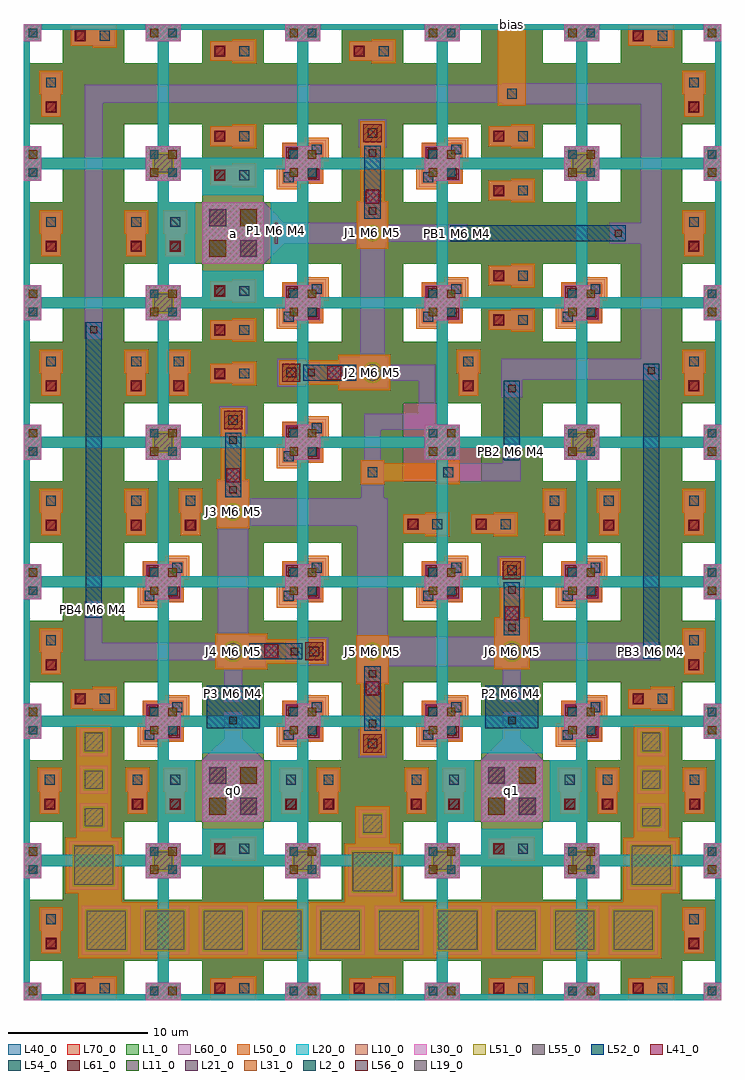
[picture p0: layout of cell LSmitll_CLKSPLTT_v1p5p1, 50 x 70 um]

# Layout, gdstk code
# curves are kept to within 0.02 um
from math import pi, radians
import gdstk
lib = gdstk.Library(unit=1e-6, precision=1e-09)
def R(c, l, rs):  # rectangles x0, y0, x1, y1
    for r in rs: c.add(gdstk.rectangle(r[:2], r[2:], *l))
def A(c, l, x, y, w, h, nx, ny, dx, dy):  # array of equal rectangles
    R(c, l, [(x+i*dx, y+j*dy, x+i*dx+w, y+j*dy+h) for i in range(nx) for j in range(ny)])
def P(c, l, *ps):  # polygons
    for p in ps: c.add(gdstk.Polygon(p, *l))
L1_0 = (1, 0)
L2_0 = (2, 0)
L10_0 = (10, 0)
L11_0 = (11, 0)
L19_0 = (19, 0)
L20_0 = (20, 0)
L21_0 = (21, 0)
L30_0 = (30, 0)
L31_0 = (31, 0)
L40_0 = (40, 0)
L41_0 = (41, 0)
L50_0 = (50, 0)
L51_0 = (51, 0)
L52_0 = (52, 0)
L54_0 = (54, 0)
L55_0 = (55, 0)
L56_0 = (56, 0)
L60_0 = (60, 0)
L61_0 = (61, 0)
L70_0 = (70, 0)

ls_fakejj_1p5x1p5um = lib.new_cell('ls_FakeJJ_1p5x1p5um')
R(ls_fakejj_1p5x1p5um, L40_0, [(-1.25,-1.25,1.25,1.25)])
R(ls_fakejj_1p5x1p5um, L50_0, [(-1.25,-1.25,1.25,1.25)])
R(ls_fakejj_1p5x1p5um, L51_0, [(-0.75,-0.75,0.75,0.75)])
R(ls_fakejj_1p5x1p5um, L55_0, [(-0.65,-0.65,0.65,0.65)])
R(ls_fakejj_1p5x1p5um, L60_0, [(-1,-1,1,1)])

ls_fakejj_3umx3um = lib.new_cell('ls_FakeJJ_3umx3um')
R(ls_fakejj_3umx3um, L40_0, [(-2,-2,2,2)])
R(ls_fakejj_3umx3um, L50_0, [(-2,-2,2,2)])
R(ls_fakejj_3umx3um, L51_0, [(-1.5,-1.5,1.5,1.5)])
R(ls_fakejj_3umx3um, L55_0, [(-1.4,-1.4,1.4,1.4)])
R(ls_fakejj_3umx3um, L60_0, [(-1.75,-1.75,1.75,1.75)])

ls_conn_m4m5m6m7 = lib.new_cell('ls_conn_M4M5M6M7')
R(ls_conn_m4m5m6m7, L40_0, [(0,0,1.4,1.4)])
R(ls_conn_m4m5m6m7, L41_0, [(0.3,0.3,1.1,1.1)])
P(ls_conn_m4m5m6m7, L50_0, [(3.3,1.55),(1.6,1.55),(1.6,1.4),(0,1.4),(0,0),(1.6,0),(1.6,-0.15),(3.3,-0.15)])
R(ls_conn_m4m5m6m7, L54_0, [(2.1,0.35,2.8,1.05)])
R(ls_conn_m4m5m6m7, L60_0, [(0,0,3.15,1.4)])
R(ls_conn_m4m5m6m7, L61_0, [(0.35,0.35,1.05,1.05)])
R(ls_conn_m4m5m6m7, L70_0, [(0,0,1.4,1.4)])

ls_tr_m7 = lib.new_cell('ls_tr_M7')
P(ls_tr_m7, L70_0, [(10,10),(7.2,10),(7.2,9.6),(8.75,9.6),(8.75,8.75),(9.6,8.75),(9.6,7.2),(7.2,7.2),(7.2,2.8),(9.6,2.8),(9.6,1.25),(8.75,1.25),(8.75,0.4),(7.2,0.4),(7.2,10),(1.25,10),(1.25,9.6),(2.8,9.6),(2.8,7.2),(0.4,7.2),(0.4,2.8),(2.8,2.8),(2.8,0.4),(1.25,0.4),(1.25,1.25),(0.4,1.25),(0.4,8.75),(1.25,8.75),(1.25,10),(0,10),(0,0),(10,0)])

ls_conn_m4m5m6m7_block = lib.new_cell('ls_conn_M4M5M6M7_block')
R(ls_conn_m4m5m6m7_block, L40_0, [(-1.475,-1.475,1.475,1.475)])
R(ls_conn_m4m5m6m7_block, L41_0, [(0.375,-1.175,1.175,-0.375), (-1.175,0.375,-0.375,1.175)])
P(ls_conn_m4m5m6m7_block, L50_0, [(1.85,1.85),(0.15,1.85),(0.15,1.475),(-1.475,1.475),(-1.475,-0.15),(-1.85,-0.15),(-1.85,-1.85),(-0.15,-1.85),(-0.15,-1.475),(1.475,-1.475),(1.475,0.15),(1.85,0.15)])
R(ls_conn_m4m5m6m7_block, L54_0, [(-1.35,-1.35,-0.65,-0.65), (0.65,0.65,1.35,1.35)])
P(ls_conn_m4m5m6m7_block, L60_0, [(1.7,1.7),(0.3,1.7),(0.3,1.45),(-1.45,1.45),(-1.45,-0.3),(-1.7,-0.3),(-1.7,-1.7),(-0.3,-1.7),(-0.3,-1.45),(1.45,-1.45),(1.45,0.3),(1.7,0.3)])
R(ls_conn_m4m5m6m7_block, L61_0, [(0.35,-1.05,1.05,-0.35), (-1.05,0.35,-0.35,1.05)])
R(ls_conn_m4m5m6m7_block, L70_0, [(-1.45,-1.45,1.45,1.45)])

ls_conn_m5m6m7 = lib.new_cell('ls_conn_M5M6M7')
R(ls_conn_m5m6m7, L50_0, [(-0.5,-0.5,1.2,1.2)])
R(ls_conn_m5m6m7, L54_0, [(0,0,0.7,0.7)])
R(ls_conn_m5m6m7, L60_0, [(-0.65,-0.65,1.35,1.35)])
R(ls_conn_m5m6m7, L61_0, [(-0.3,-0.3,1,1)])
R(ls_conn_m5m6m7, L70_0, [(-0.65,-0.65,1.35,1.35)])

ls_jj_170_sg = lib.new_cell('ls_jj_170_sg')
R(ls_jj_170_sg, L41_0, [(-0.5,2.25,0.5,3.25)])
R(ls_jj_170_sg, L50_0, [(-1.275,-1.275,1.275,2.45), (-0.875,2.45,0.875,6.7)])
P(ls_jj_170_sg, L51_0, [(0,-0.755),(0.29,-0.695),(0.535,-0.535),(0.7,-0.29),(0.755,0),(0.7,0.29),(0.535,0.535),(0.29,0.7),(0,0.755),(-0.29,0.7),(-0.535,0.535),(-0.7,0.29),(-0.755,0),(-0.7,-0.29),(-0.535,-0.535),(-0.29,-0.695)])
R(ls_jj_170_sg, L52_0, [(-0.575,1.175,0.575,4.95)])
R(ls_jj_170_sg, L54_0, [(-0.35,5.475,0.35,6.175)])
P(ls_jj_170_sg, L55_0, [(0,-0.61),(0.23,-0.56),(0.43,-0.43),(0.56,-0.24),(0.61,0),(0.56,0.23),(0.43,0.43),(0.23,0.56),(0,0.6),(-0.23,0.56),(-0.43,0.43),(-0.56,0.23),(-0.61,0),(-0.56,-0.24),(-0.43,-0.43),(-0.23,-0.56)])
R(ls_jj_170_sg, L56_0, [(-0.26,1.46,0.26,1.98), (-0.26,4.14,0.26,4.66)])
R(ls_jj_170_sg, L60_0, [(-1.125,-1.125,1.125,2.35), (-0.725,3.775,0.725,6.55)])
ls_jj_170_sg.add(gdstk.Reference(ls_conn_m5m6m7, (-0.35,5.475)))

ls_ib_360 = lib.new_cell('ls_ib_360')
R(ls_ib_360, L52_0, [(-0.575,0,0.575,5.675)])
R(ls_ib_360, L56_0, [(-0.26,0.29,0.26,0.81), (-0.26,4.87,0.26,5.39)])
R(ls_ib_360, L60_0, [(-0.625,-0.1,0.625,1.175), (-0.625,4.5,0.625,5.775)])

ls_ib_135 = lib.new_cell('ls_ib_135')
R(ls_ib_135, L52_0, [(-0.575,0,0.575,12.6)])
R(ls_ib_135, L56_0, [(-0.26,0.29,0.26,0.81), (-0.26,11.8,0.26,12.32)])
R(ls_ib_135, L60_0, [(-0.625,-0.1,0.625,1.175), (-0.625,11.425,0.625,12.7)])

ls_jj_101_sg = lib.new_cell('ls_jj_101_sg')
R(ls_jj_101_sg, L41_0, [(-0.5,2.1,0.5,3.1)])
R(ls_jj_101_sg, L50_0, [(-1.125,-1.125,1.125,2.3), (-0.875,2.3,0.875,8.025)])
P(ls_jj_101_sg, L51_0, [(0,-0.59),(0.225,-0.545),(0.415,-0.415),(0.545,-0.225),(0.59,0),(0.545,0.225),(0.415,0.42),(0.225,0.545),(0,0.59),(-0.225,0.545),(-0.415,0.42),(-0.545,0.225),(-0.59,0),(-0.545,-0.225),(-0.415,-0.415),(-0.225,-0.545)])
R(ls_jj_101_sg, L52_0, [(-0.575,1.05,0.575,6.275)])
P(ls_jj_101_sg, L55_0, [(0,-0.44),(0.25,-0.37),(0.41,-0.17),(0.44,0),(0.37,0.25),(0.25,0.37),(0,0.44),(-0.25,0.37),(-0.37,0.25),(-0.44,0),(-0.41,-0.17),(-0.31,-0.31),(-0.17,-0.41)])
R(ls_jj_101_sg, L56_0, [(-0.26,1.32,0.26,1.84), (-0.26,5.49,0.26,6.01)])
R(ls_jj_101_sg, L60_0, [(-0.975,-0.975,0.975,2.2), (-0.725,5.1,0.725,7.875)])
ls_jj_101_sg.add(gdstk.Reference(ls_conn_m5m6m7, (-0.35,6.825)))

ls_tr_ptlconnection = lib.new_cell('ls_tr_PTLconnection')
P(ls_tr_ptlconnection, L1_0, [(10,10),(7.2,10),(7.2,9.6),(8.75,9.6),(8.75,8.75),(9.6,8.75),(9.6,7.2),(7.2,7.2),(7.2,2.8),(9.6,2.8),(9.6,1.25),(8.75,1.25),(8.75,0.4),(7.2,0.4),(7.2,10),(1.25,10),(1.25,9.6),(2.8,9.6),(2.8,7.2),(0.4,7.2),(0.4,2.8),(2.8,2.8),(2.8,0.4),(1.25,0.4),(1.25,1.25),(0.4,1.25),(0.4,8.75),(1.25,8.75),(1.25,10),(0,10),(0,0),(10,0)])
R(ls_tr_ptlconnection, L2_0, [(9.05,0.35,9.65,0.95), (0.35,9.05,0.95,9.65)])
R(ls_tr_ptlconnection, L10_0, [(0,0,1.25,1.25), (8.75,0,10,1.25), (2.8,2.8,7.2,7.2), (0,8.75,1.25,10), (8.75,8.75,10,10)])
R(ls_tr_ptlconnection, L11_0, [(0.35,0.35,0.95,0.95), (3.3,3.3,4.5,4.5), (5.5,5.5,6.7,6.7), (9.05,9.05,9.65,9.65)])
R(ls_tr_ptlconnection, L20_0, [(2.8,2.8,7.2,7.2)])
P(ls_tr_ptlconnection, L20_0, [(10,10),(7.2,10),(7.2,9.6),(8.75,9.6),(8.75,8.75),(9.6,8.75),(9.6,7.2),(7.7,7.2),(7.7,2.8),(9.6,2.8),(9.6,1.25),(8.75,1.25),(8.75,0.4),(7.2,0.4),(7.2,2.3),(2.8,2.3),(2.8,0.4),(1.25,0.4),(1.25,1.25),(0.4,1.25),(0.4,2.8),(2.3,2.8),(2.3,7.2),(0.4,7.2),(0.4,8.75),(1.25,8.75),(1.25,9.6),(2.8,9.6),(2.8,7.7),(7.2,7.7),(7.2,10),(0,10),(0,0),(10,0)])
R(ls_tr_ptlconnection, L21_0, [(9.05,0.35,9.65,0.95), (5.5,3.3,6.7,4.5), (3.3,5.5,4.5,6.7), (0.35,9.05,0.95,9.65)])
R(ls_tr_ptlconnection, L30_0, [(0,0,1.25,1.25), (8.75,0,10,1.25), (2.8,2.8,7.2,7.2), (0,8.75,1.25,10), (8.75,8.75,10,10)])
R(ls_tr_ptlconnection, L31_0, [(0.35,0.35,0.95,0.95), (3.3,3.3,4.5,4.5), (5.5,5.5,6.7,6.7), (9.05,9.05,9.65,9.65)])
R(ls_tr_ptlconnection, L40_0, [(2.8,2.8,7.2,7.2)])
P(ls_tr_ptlconnection, L40_0, [(10,10),(7.2,10),(7.2,9.6),(8.75,9.6),(8.75,8.75),(9.6,8.75),(9.6,7.2),(7.7,7.2),(7.7,2.8),(9.6,2.8),(9.6,1.25),(8.75,1.25),(8.75,0.4),(7.2,0.4),(7.2,2.3),(2.8,2.3),(2.8,0.4),(1.25,0.4),(1.25,1.25),(0.4,1.25),(0.4,2.8),(2.3,2.8),(2.3,7.2),(0.4,7.2),(0.4,8.75),(1.25,8.75),(1.25,9.6),(2.8,9.6),(2.8,7.7),(7.2,7.7),(7.2,10),(0,10),(0,0),(10,0)])
R(ls_tr_ptlconnection, L41_0, [(5.5,3.3,6.7,4.5), (3.3,5.5,4.5,6.7)])
R(ls_tr_ptlconnection, L50_0, [(2.8,2.8,7.2,7.2)])
R(ls_tr_ptlconnection, L54_0, [(3.3,3.3,4.5,4.5), (5.5,5.5,6.7,6.7)])
R(ls_tr_ptlconnection, L60_0, [(2.8,2.8,7.2,7.2)])
P(ls_tr_ptlconnection, L70_0, [(10,10),(7.2,10),(7.2,9.6),(8.75,9.6),(8.75,8.75),(9.6,8.75),(9.6,7.2),(7.2,7.2),(7.2,2.8),(9.6,2.8),(9.6,1.25),(8.75,1.25),(8.75,0.4),(7.2,0.4),(7.2,10),(1.25,10),(1.25,9.6),(2.8,9.6),(2.8,7.2),(0.4,7.2),(0.4,2.8),(2.8,2.8),(2.8,0.4),(1.25,0.4),(1.25,1.25),(0.4,1.25),(0.4,8.75),(1.25,8.75),(1.25,10),(0,10),(0,0),(10,0)])

ls_tr_u_m4 = lib.new_cell('ls_tr_u_M4')
P(ls_tr_u_m4, L1_0, [(10,10),(7.2,10),(7.2,9.6),(8.75,9.6),(8.75,8.75),(9.6,8.75),(9.6,7.2),(7.2,7.2),(7.2,2.8),(9.6,2.8),(9.6,1.25),(8.75,1.25),(8.75,0.4),(7.2,0.4),(7.2,10),(1.25,10),(1.25,9.6),(2.8,9.6),(2.8,7.2),(0.4,7.2),(0.4,2.8),(2.8,2.8),(2.8,0.4),(1.25,0.4),(1.25,1.25),(0.4,1.25),(0.4,8.75),(1.25,8.75),(1.25,10),(0,10),(0,0),(10,0)])
R(ls_tr_u_m4, L2_0, [(9.05,0.35,9.65,0.95), (0.35,9.05,0.95,9.65)])
R(ls_tr_u_m4, L10_0, [(0,0,1.25,1.25), (8.75,0,10,1.25), (0,8.75,1.25,10), (8.75,8.75,10,10)])
R(ls_tr_u_m4, L11_0, [(0.35,0.35,0.95,0.95), (9.05,9.05,9.65,9.65)])
P(ls_tr_u_m4, L20_0, [(10,10),(1.25,10),(1.25,9.6),(8.75,9.6),(8.75,8.75),(9.6,8.75),(9.6,1.25),(8.75,1.25),(8.75,0.4),(1.25,0.4),(1.25,1.25),(0.4,1.25),(0.4,8.75),(1.25,8.75),(1.25,10),(0,10),(0,0),(10,0)])
R(ls_tr_u_m4, L21_0, [(9.05,0.35,9.65,0.95), (0.35,9.05,0.95,9.65)])
R(ls_tr_u_m4, L30_0, [(0,0,1.25,1.25), (8.75,0,10,1.25), (0,8.75,1.25,10), (8.75,8.75,10,10)])
R(ls_tr_u_m4, L31_0, [(0.35,0.35,0.95,0.95), (9.05,9.05,9.65,9.65)])
P(ls_tr_u_m4, L40_0, [(10,10),(7.2,10),(7.2,9.6),(8.75,9.6),(8.75,8.75),(9.6,8.75),(9.6,7.2),(7.2,7.2),(7.2,2.8),(9.6,2.8),(9.6,1.25),(8.75,1.25),(8.75,0.4),(7.2,0.4),(7.2,10),(1.25,10),(1.25,9.6),(2.8,9.6),(2.8,7.2),(0.4,7.2),(0.4,2.8),(2.8,2.8),(2.8,0.4),(1.25,0.4),(1.25,1.25),(0.4,1.25),(0.4,8.75),(1.25,8.75),(1.25,10),(0,10),(0,0),(10,0)])

ls_ib_076 = lib.new_cell('ls_ib_076')
R(ls_ib_076, L52_0, [(-0.575,0,0.575,21.175)])
R(ls_ib_076, L56_0, [(-0.26,0.29,0.26,0.81), (-0.26,20.39,0.26,20.91)])
R(ls_ib_076, L60_0, [(-0.625,-0.1,0.625,1.175), (-0.625,20,0.625,21.275)])

ls_jj_121_sg = lib.new_cell('ls_jj_121_sg')
R(ls_jj_121_sg, L41_0, [(-0.5,2.15,0.5,3.15)])
R(ls_jj_121_sg, L50_0, [(-1.175,-1.175,1.175,2.35), (-0.875,2.35,0.875,7.45)])
P(ls_jj_121_sg, L51_0, [(0,-0.645),(0.245,-0.595),(0.455,-0.455),(0.595,-0.25),(0.645,0),(0.595,0.245),(0.455,0.45),(0.245,0.59),(0,0.64),(-0.245,0.59),(-0.455,0.45),(-0.595,0.245),(-0.645,0),(-0.595,-0.25),(-0.455,-0.455),(-0.245,-0.595)])
R(ls_jj_121_sg, L52_0, [(-0.575,1.075,0.575,5.7)])
P(ls_jj_121_sg, L55_0, [(0,-0.49),(0.19,-0.45),(0.35,-0.35),(0.47,-0.19),(0.49,0),(0.47,0.19),(0.35,0.35),(0.19,0.46),(0,0.5),(-0.19,0.46),(-0.35,0.35),(-0.47,0.19),(-0.49,0),(-0.47,-0.19),(-0.35,-0.35),(-0.19,-0.45)])
R(ls_jj_121_sg, L56_0, [(-0.26,1.34,0.26,1.86), (-0.26,4.91,0.26,5.43)])
R(ls_jj_121_sg, L60_0, [(-1.025,-1.025,1.025,2.25), (-0.725,4.525,0.725,7.3)])
ls_jj_121_sg.add(gdstk.Reference(ls_conn_m5m6m7, (-0.35,6.25)))

ls_res_1p36 = lib.new_cell('ls_res_1p36')
R(ls_res_1p36, L52_0, [(-1.9,0,1.9,3.05)])
R(ls_res_1p36, L56_0, [(-0.26,0.29,0.26,0.81), (-0.26,2.25,0.26,2.77)])
R(ls_res_1p36, L60_0, [(-0.625,-0.1,0.625,1.175), (-0.625,1.875,0.625,3.15)])

ls_conn_m5m6 = lib.new_cell('ls_conn_M5M6')
R(ls_conn_m5m6, L50_0, [(0,0,1.7,1.7)])
R(ls_conn_m5m6, L54_0, [(0.5,0.5,1.2,1.2)])
R(ls_conn_m5m6, L60_0, [(0.15,0.15,1.55,1.55)])

lsmitll_clkspltt_v1p5p1 = lib.new_cell('LSmitll_CLKSPLTT_v1p5p1')
R(lsmitll_clkspltt_v1p5p1, L19_0, [(14.75,21.75,15.25,22.25), (34.75,21.75,35.25,22.25), (44.75,24.775,45.25,25.275), (4.75,27.725,5.25,28.225), (34.75,39.025,35.25,39.525), (30.875,54.75,31.375,55.25)])
R(lsmitll_clkspltt_v1p5p1, L40_0, [(27.2,37.2,32.8,39.6), (27.2,40.4,29.6,42.8)])
A(lsmitll_clkspltt_v1p5p1, L50_0, 3.35, 0, 1.6, 0.15, 5, 1, 10, 0)
A(lsmitll_clkspltt_v1p5p1, L50_0, 7.9, 3, 0.2, 4, 9, 1, 4.2, 0)
A(lsmitll_clkspltt_v1p5p1, L50_0, 3.75, 11.65, 2.5, 0.2, 1, 3, 0, 2.7)
A(lsmitll_clkspltt_v1p5p1, L50_0, 43.75, 11.65, 2.5, 0.2, 1, 3, 0, 2.7)
R(lsmitll_clkspltt_v1p5p1, L50_0, [(3.9,7,7,7.65), (23,7,27,7.2), (43,7,45.7,7.65), (23.75,11.2,26.25,11.4), (3.35,69.85,4.95,70), (43.35,69.85,44.95,70)])
A(lsmitll_clkspltt_v1p5p1, L60_0, 3.35, 0, 3.15, 0.15, 5, 1, 10, 0)
R(lsmitll_clkspltt_v1p5p1, L60_0, [(3.35,69.85,6.5,70), (43.35,69.85,46.5,70)])
P(lsmitll_clkspltt_v1p5p1, L60_0, [(12.8,17.2),(17.2,17.2),(15,19.4)],
  [(32.8,17.2),(37.2,17.2),(35,19.4)],
  [(17.2,57.2),(17.2,52.8),(19.4,55)])
R(lsmitll_clkspltt_v1p5p1, L70_0, [(27.2,37.2,32.8,39.6), (27.2,40.4,29.6,42.8)])
lsmitll_clkspltt_v1p5p1.add(gdstk.FlexPath([(25,41.975),(25,37.25)], 1.2, ends="flush", simple_path=True, layer=60, datatype=0))  # L60_0
lsmitll_clkspltt_v1p5p1.add(gdstk.FlexPath([(29.5,41.475),(24.4,41.475)], 1.15, ends="flush", simple_path=True, layer=60, datatype=0))  # L60_0
lsmitll_clkspltt_v1p5p1.add(gdstk.FlexPath([(28.9,45.225),(28.9,40.975)], 1.2, ends="flush", simple_path=True, layer=60, datatype=0))  # L60_0
lsmitll_clkspltt_v1p5p1.add(gdstk.FlexPath([(26.125,45),(29.5,45)], 1.15, ends="flush", simple_path=True, layer=60, datatype=0))  # L60_0
lsmitll_clkspltt_v1p5p1.add(gdstk.FlexPath([(18.1,55.75),(18.1,54.25)], 0.2, ends="flush", simple_path=True, layer=19, datatype=0))  # L19_0
lsmitll_clkspltt_v1p5p1.add(gdstk.FlexPath([(29.725,37.85),(35,37.85),(35,39.9)], 1.3, ends="flush", simple_path=True, layer=60, datatype=0))  # L60_0
lsmitll_clkspltt_v1p5p1.add(gdstk.FlexPath([(24.15,37.85),(31.275,37.85)], 1.3, ends="flush", simple_path=True, layer=50, datatype=0))  # L50_0
lsmitll_clkspltt_v1p5p1.add(gdstk.FlexPath([(15,37.25),(15,26.125)], 2.2, ends="flush", simple_path=True, layer=60, datatype=0))  # L60_0
lsmitll_clkspltt_v1p5p1.add(gdstk.FlexPath([(35,23.875),(35,21.375)], 1.3, ends="flush", simple_path=True, layer=60, datatype=0))  # L60_0
lsmitll_clkspltt_v1p5p1.add(gdstk.FlexPath([(35,20.675),(35,17.2)], 1.3, ends="flush", simple_path=True, layer=60, datatype=0))  # L60_0
lsmitll_clkspltt_v1p5p1.add(gdstk.FlexPath([(35,45.975),(35,43.225)], 1.5, ends="flush", simple_path=True, layer=60, datatype=0))  # L60_0
lsmitll_clkspltt_v1p5p1.add(gdstk.FlexPath([(35,45.225),(45.75,45.225)], 1.5, ends="flush", simple_path=True, layer=60, datatype=0))  # L60_0
lsmitll_clkspltt_v1p5p1.add(gdstk.FlexPath([(45,25),(36.125,25)], 1.25, ends="flush", simple_path=True, layer=60, datatype=0))  # L60_0
lsmitll_clkspltt_v1p5p1.add(gdstk.FlexPath([(33.875,25),(26.025,25)], 2.1, ends="flush", simple_path=True, layer=60, datatype=0))  # L60_0
lsmitll_clkspltt_v1p5p1.add(gdstk.FlexPath([(25,22.75),(25,35.7)], 2.2, ends="flush", simple_path=True, layer=60, datatype=0))  # L60_0
lsmitll_clkspltt_v1p5p1.add(gdstk.FlexPath([(13.875,25),(5,25),(5,28.6)], 1.25, ends="flush", simple_path=True, layer=60, datatype=0))  # L60_0
lsmitll_clkspltt_v1p5p1.add(gdstk.FlexPath([(26.1,35),(16.025,35)], 1.95, ends="flush", simple_path=True, layer=60, datatype=0))  # L60_0
lsmitll_clkspltt_v1p5p1.add(gdstk.FlexPath([(25,54.025),(25,46.125)], 1.75, ends="flush", simple_path=True, layer=60, datatype=0))  # L60_0
lsmitll_clkspltt_v1p5p1.add(gdstk.FlexPath([(24.025,55),(17.1,55)], 1.5, ends="flush", simple_path=True, layer=60, datatype=0))  # L60_0
lsmitll_clkspltt_v1p5p1.add(gdstk.FlexPath([(25.975,55),(31.75,55)], 1.2, ends="flush", simple_path=True, layer=60, datatype=0))  # L60_0
lsmitll_clkspltt_v1p5p1.add(gdstk.FlexPath([(35,64.15),(35,70)], 2, ends="flush", simple_path=True, layer=50, datatype=0))  # L50_0
lsmitll_clkspltt_v1p5p1.add(gdstk.FlexPath([(35,65),(4.35,65)], 1.3, ends="flush", simple_path=True, layer=60, datatype=0))  # L60_0
lsmitll_clkspltt_v1p5p1.add(gdstk.FlexPath([(5,65.65),(5,47.425)], 1.3, ends="flush", simple_path=True, layer=60, datatype=0))  # L60_0
lsmitll_clkspltt_v1p5p1.add(gdstk.FlexPath([(45,65),(34.3,65)], 1.5, ends="flush", simple_path=True, layer=60, datatype=0))  # L60_0
lsmitll_clkspltt_v1p5p1.add(gdstk.FlexPath([(45,65.75),(45,44.475)], 1.5, ends="flush", simple_path=True, layer=60, datatype=0))  # L60_0
lsmitll_clkspltt_v1p5p1.add(gdstk.FlexPath([(44.25,55),(42,55)], 1.5, ends="flush", simple_path=True, layer=60, datatype=0))  # L60_0
lsmitll_clkspltt_v1p5p1.add(gdstk.FlexPath([(15,20.675),(15,17.2)], 1.3, ends="flush", simple_path=True, layer=60, datatype=0))  # L60_0
lsmitll_clkspltt_v1p5p1.add(gdstk.FlexPath([(15,23.875),(15,21.375)], 1.3, ends="flush", simple_path=True, layer=60, datatype=0))  # L60_0
lsmitll_clkspltt_v1p5p1.add(gdstk.FlexPath([(25,38.65),(25,34.25)], 1.6, ends="flush", simple_path=True, layer=60, datatype=0))  # L60_0
lsmitll_clkspltt_v1p5p1.add(gdstk.Reference(ls_fakejj_1p5x1p5um, (45,15.8)))
lsmitll_clkspltt_v1p5p1.add(gdstk.Reference(ls_fakejj_3umx3um, (45,9.65)))
lsmitll_clkspltt_v1p5p1.add(gdstk.Reference(ls_fakejj_3umx3um, (5,9.65)))
lsmitll_clkspltt_v1p5p1.add(gdstk.Reference(ls_fakejj_3umx3um, (14.3,5)))
lsmitll_clkspltt_v1p5p1.add(gdstk.Reference(ls_fakejj_3umx3um, (10.1,5)))
lsmitll_clkspltt_v1p5p1.add(gdstk.Reference(ls_fakejj_3umx3um, (5.9,5)))
lsmitll_clkspltt_v1p5p1.add(gdstk.Reference(ls_conn_m4m5m6m7, (3.35,20.9)))
lsmitll_clkspltt_v1p5p1.add(gdstk.Reference(ls_conn_m4m5m6m7, (43.35,20.9)))
lsmitll_clkspltt_v1p5p1.add(gdstk.Reference(ls_conn_m4m5m6m7, (32.1,33.425)))
lsmitll_clkspltt_v1p5p1.add(gdstk.Reference(ls_conn_m4m5m6m7, (27.2,33.425)))
lsmitll_clkspltt_v1p5p1.add(gdstk.Reference(ls_conn_m4m5m6m7, (33.35,10.15)))
lsmitll_clkspltt_v1p5p1.add(gdstk.Reference(ls_conn_m4m5m6m7, (13.35,10.15)))
lsmitll_clkspltt_v1p5p1.add(gdstk.Reference(ls_conn_m4m5m6m7, (11.55,13.35), rotation=pi/2))
lsmitll_clkspltt_v1p5p1.add(gdstk.Reference(ls_conn_m4m5m6m7, (22.55,13.35), rotation=pi/2))
lsmitll_clkspltt_v1p5p1.add(gdstk.Reference(ls_conn_m4m5m6m7, (19.85,13.35), rotation=pi/2))
lsmitll_clkspltt_v1p5p1.add(gdstk.Reference(ls_conn_m4m5m6m7, (28.85,13.35), rotation=pi/2))
lsmitll_clkspltt_v1p5p1.add(gdstk.Reference(ls_conn_m4m5m6m7, (31.55,13.35), rotation=pi/2))
lsmitll_clkspltt_v1p5p1.add(gdstk.Reference(ls_conn_m4m5m6m7, (39.85,13.35), rotation=pi/2))
lsmitll_clkspltt_v1p5p1.add(gdstk.Reference(ls_conn_m4m5m6m7, (43.35,68.45)))
lsmitll_clkspltt_v1p5p1.add(gdstk.Reference(ls_conn_m4m5m6m7, (23.35,67.35)))
lsmitll_clkspltt_v1p5p1.add(gdstk.Reference(ls_conn_m4m5m6m7, (3.35,68.45)))
lsmitll_clkspltt_v1p5p1.add(gdstk.Reference(ls_conn_m4m5m6m7, (13.35,67.35)))
lsmitll_clkspltt_v1p5p1.add(gdstk.Reference(ls_conn_m4m5m6m7, (48.75,63.35), rotation=pi/2))
lsmitll_clkspltt_v1p5p1.add(gdstk.Reference(ls_conn_m4m5m6m7, (48.75,53.35), rotation=pi/2))
lsmitll_clkspltt_v1p5p1.add(gdstk.Reference(ls_conn_m4m5m6m7, (48.75,43.35), rotation=pi/2))
lsmitll_clkspltt_v1p5p1.add(gdstk.Reference(ls_conn_m4m5m6m7, (2.65,63.35), rotation=pi/2))
lsmitll_clkspltt_v1p5p1.add(gdstk.Reference(ls_conn_m4m5m6m7, (11.55,53.35), rotation=pi/2))
lsmitll_clkspltt_v1p5p1.add(gdstk.Reference(ls_conn_m4m5m6m7, (8.75,53.35), rotation=pi/2))
lsmitll_clkspltt_v1p5p1.add(gdstk.Reference(ls_conn_m4m5m6m7, (2.65,53.35), rotation=pi/2))
lsmitll_clkspltt_v1p5p1.add(gdstk.Reference(ls_conn_m4m5m6m7, (2.65,43.35), rotation=pi/2))
lsmitll_clkspltt_v1p5p1.add(gdstk.Reference(ls_conn_m4m5m6m7, (11.8,43.35), rotation=pi/2))
lsmitll_clkspltt_v1p5p1.add(gdstk.Reference(ls_conn_m4m5m6m7, (8.75,43.35), rotation=pi/2))
lsmitll_clkspltt_v1p5p1.add(gdstk.Reference(ls_conn_m4m5m6m7, (13.35,44.225)))
lsmitll_clkspltt_v1p5p1.add(gdstk.Reference(ls_conn_m4m5m6m7, (2.65,23.35), rotation=pi/2))
lsmitll_clkspltt_v1p5p1.add(gdstk.Reference(ls_conn_m4m5m6m7, (2.65,33.35), rotation=pi/2))
lsmitll_clkspltt_v1p5p1.add(gdstk.Reference(ls_conn_m4m5m6m7, (8.75,33.35), rotation=pi/2))
lsmitll_clkspltt_v1p5p1.add(gdstk.Reference(ls_conn_m4m5m6m7, (12.65,33.35), rotation=pi/2))
lsmitll_clkspltt_v1p5p1.add(gdstk.Reference(ls_conn_m4m5m6m7, (48.75,23.35), rotation=pi/2))
lsmitll_clkspltt_v1p5p1.add(gdstk.Reference(ls_conn_m4m5m6m7, (48.75,33.35), rotation=pi/2))
lsmitll_clkspltt_v1p5p1.add(gdstk.Reference(ls_conn_m4m5m6m7, (42.65,33.35), rotation=pi/2))
lsmitll_clkspltt_v1p5p1.add(gdstk.Reference(ls_conn_m4m5m6m7, (38.75,33.35), rotation=pi/2))
lsmitll_clkspltt_v1p5p1.add(gdstk.Reference(ls_conn_m4m5m6m7, (32.575,43.35), rotation=pi/2))
lsmitll_clkspltt_v1p5p1.add(gdstk.Reference(ls_conn_m4m5m6m7, (33.35,48.075)))
lsmitll_clkspltt_v1p5p1.add(gdstk.Reference(ls_conn_m4m5m6m7, (33.35,51.25)))
lsmitll_clkspltt_v1p5p1.add(gdstk.Reference(ls_conn_m4m5m6m7, (33.35,61.25)))
lsmitll_clkspltt_v1p5p1.add(gdstk.Reference(ls_conn_m4m5m6m7, (33.35,57.35)))
lsmitll_clkspltt_v1p5p1.add(gdstk.Reference(ls_conn_m4m5m6m7, (13.35,47.35)))
lsmitll_clkspltt_v1p5p1.add(gdstk.Reference(ls_conn_m4m5m6m7, (13.35,50.15)))
lsmitll_clkspltt_v1p5p1.add(gdstk.Reference(ls_conn_m4m5m6m7, (13.35,61.25)))
r = gdstk.Reference(ls_tr_m7, (0,0)); r.repetition = gdstk.Repetition(5, 7, v1=(10,0), v2=(0,10)); lsmitll_clkspltt_v1p5p1.add(r)
lsmitll_clkspltt_v1p5p1.add(gdstk.Reference(ls_conn_m4m5m6m7_block, (20,60)))
lsmitll_clkspltt_v1p5p1.add(gdstk.Reference(ls_conn_m4m5m6m7_block, (30,60)))
lsmitll_clkspltt_v1p5p1.add(gdstk.Reference(ls_conn_m4m5m6m7_block, (40,50)))
lsmitll_clkspltt_v1p5p1.add(gdstk.Reference(ls_conn_m4m5m6m7_block, (30,50)))
lsmitll_clkspltt_v1p5p1.add(gdstk.Reference(ls_conn_m4m5m6m7_block, (20,50)))
lsmitll_clkspltt_v1p5p1.add(gdstk.Reference(ls_conn_m4m5m6m7_block, (20,20)))
lsmitll_clkspltt_v1p5p1.add(gdstk.Reference(ls_conn_m4m5m6m7_block, (30,20)))
lsmitll_clkspltt_v1p5p1.add(gdstk.Reference(ls_conn_m4m5m6m7_block, (40,30)))
lsmitll_clkspltt_v1p5p1.add(gdstk.Reference(ls_conn_m4m5m6m7_block, (10,30)))
lsmitll_clkspltt_v1p5p1.add(gdstk.Reference(ls_conn_m4m5m6m7_block, (20,30)))
lsmitll_clkspltt_v1p5p1.add(gdstk.Reference(ls_conn_m4m5m6m7_block, (30,30)))
lsmitll_clkspltt_v1p5p1.add(gdstk.Reference(ls_conn_m4m5m6m7_block, (20,40)))
lsmitll_clkspltt_v1p5p1.add(gdstk.Reference(ls_jj_170_sg, (35,25), rotation=pi, x_reflection=True))
lsmitll_clkspltt_v1p5p1.add(gdstk.Reference(ls_ib_360, (35,44.4), rotation=pi))
lsmitll_clkspltt_v1p5p1.add(gdstk.Reference(ls_ib_135, (43.175,55), rotation=pi/2))
lsmitll_clkspltt_v1p5p1.add(gdstk.Reference(ls_jj_101_sg, (25,55)))
lsmitll_clkspltt_v1p5p1.add(gdstk.Reference(ls_tr_ptlconnection, (10,50)))
lsmitll_clkspltt_v1p5p1.add(gdstk.Reference(ls_tr_ptlconnection, (30,10)))
lsmitll_clkspltt_v1p5p1.add(gdstk.Reference(ls_tr_ptlconnection, (10,10)))
lsmitll_clkspltt_v1p5p1.add(gdstk.Reference(ls_tr_u_m4, (0,60)))
lsmitll_clkspltt_v1p5p1.add(gdstk.Reference(ls_tr_u_m4, (0,50)))
lsmitll_clkspltt_v1p5p1.add(gdstk.Reference(ls_tr_u_m4, (0,40)))
lsmitll_clkspltt_v1p5p1.add(gdstk.Reference(ls_tr_u_m4, (0,30)))
lsmitll_clkspltt_v1p5p1.add(gdstk.Reference(ls_tr_u_m4, (0,20)))
lsmitll_clkspltt_v1p5p1.add(gdstk.Reference(ls_tr_u_m4, (0,10)))
lsmitll_clkspltt_v1p5p1.add(gdstk.Reference(ls_tr_u_m4, (0,0)))
lsmitll_clkspltt_v1p5p1.add(gdstk.Reference(ls_tr_u_m4, (10,0)))
lsmitll_clkspltt_v1p5p1.add(gdstk.Reference(ls_tr_u_m4, (10,20)))
lsmitll_clkspltt_v1p5p1.add(gdstk.Reference(ls_tr_u_m4, (10,30)))
lsmitll_clkspltt_v1p5p1.add(gdstk.Reference(ls_tr_u_m4, (10,40)))
lsmitll_clkspltt_v1p5p1.add(gdstk.Reference(ls_tr_u_m4, (10,60)))
lsmitll_clkspltt_v1p5p1.add(gdstk.Reference(ls_tr_u_m4, (20,60)))
lsmitll_clkspltt_v1p5p1.add(gdstk.Reference(ls_tr_u_m4, (20,50)))
lsmitll_clkspltt_v1p5p1.add(gdstk.Reference(ls_tr_u_m4, (20,40)))
lsmitll_clkspltt_v1p5p1.add(gdstk.Reference(ls_tr_u_m4, (20,30)))
lsmitll_clkspltt_v1p5p1.add(gdstk.Reference(ls_tr_u_m4, (20,20)))
lsmitll_clkspltt_v1p5p1.add(gdstk.Reference(ls_tr_u_m4, (20,10)))
lsmitll_clkspltt_v1p5p1.add(gdstk.Reference(ls_tr_u_m4, (20,0)))
lsmitll_clkspltt_v1p5p1.add(gdstk.Reference(ls_tr_u_m4, (30,0)))
lsmitll_clkspltt_v1p5p1.add(gdstk.Reference(ls_tr_u_m4, (30,20)))
lsmitll_clkspltt_v1p5p1.add(gdstk.Reference(ls_tr_u_m4, (30,30)))
lsmitll_clkspltt_v1p5p1.add(gdstk.Reference(ls_tr_u_m4, (30,40)))
lsmitll_clkspltt_v1p5p1.add(gdstk.Reference(ls_tr_u_m4, (30,50)))
lsmitll_clkspltt_v1p5p1.add(gdstk.Reference(ls_tr_u_m4, (30,60)))
lsmitll_clkspltt_v1p5p1.add(gdstk.Reference(ls_tr_u_m4, (40,60)))
lsmitll_clkspltt_v1p5p1.add(gdstk.Reference(ls_tr_u_m4, (40,50)))
lsmitll_clkspltt_v1p5p1.add(gdstk.Reference(ls_tr_u_m4, (40,40)))
lsmitll_clkspltt_v1p5p1.add(gdstk.Reference(ls_tr_u_m4, (40,30)))
lsmitll_clkspltt_v1p5p1.add(gdstk.Reference(ls_tr_u_m4, (40,20)))
lsmitll_clkspltt_v1p5p1.add(gdstk.Reference(ls_tr_u_m4, (40,10)))
lsmitll_clkspltt_v1p5p1.add(gdstk.Reference(ls_tr_u_m4, (40,0)))
lsmitll_clkspltt_v1p5p1.add(gdstk.Reference(ls_jj_170_sg, (25,45), rotation=pi/2))
lsmitll_clkspltt_v1p5p1.add(gdstk.Reference(ls_ib_076, (5,27.425)))
lsmitll_clkspltt_v1p5p1.add(gdstk.Reference(ls_ib_076, (45,24.475)))
lsmitll_clkspltt_v1p5p1.add(gdstk.Reference(ls_jj_121_sg, (15,35)))
lsmitll_clkspltt_v1p5p1.add(gdstk.Reference(ls_jj_170_sg, (15,25), rotation=3*pi/2))
lsmitll_clkspltt_v1p5p1.add(gdstk.Reference(ls_res_1p36, (35,19.5)))
lsmitll_clkspltt_v1p5p1.add(gdstk.Reference(ls_jj_121_sg, (25,25), rotation=pi))
lsmitll_clkspltt_v1p5p1.add(gdstk.Reference(ls_conn_m5m6, (34.15,64.15)))
lsmitll_clkspltt_v1p5p1.add(gdstk.Reference(ls_res_1p36, (15,19.5)))
lsmitll_clkspltt_v1p5p1.add(gdstk.Reference(ls_conn_m5m6, (24.15,37)))
lsmitll_clkspltt_v1p5p1.add(gdstk.Reference(ls_conn_m5m6, (29.575,37)))
lsmitll_clkspltt_v1p5p1.add(gdstk.Reference(ls_conn_m4m5m6m7, (13.35,58.45)))
lsmitll_clkspltt_v1p5p1.add(gdstk.Reference(ls_conn_m4m5m6m7_block, (10,20)))
lsmitll_clkspltt_v1p5p1.add(gdstk.Reference(ls_conn_m4m5m6m7_block, (40,20)))
lsmitll_clkspltt_v1p5p1.add(gdstk.Reference(ls_fakejj_1p5x1p5um, (10,10)))
lsmitll_clkspltt_v1p5p1.add(gdstk.Reference(ls_fakejj_1p5x1p5um, (20,10)))
lsmitll_clkspltt_v1p5p1.add(gdstk.Reference(ls_fakejj_1p5x1p5um, (30,10)))
lsmitll_clkspltt_v1p5p1.add(gdstk.Reference(ls_fakejj_1p5x1p5um, (40,10)))
lsmitll_clkspltt_v1p5p1.add(gdstk.Reference(ls_fakejj_1p5x1p5um, (40,40)))
lsmitll_clkspltt_v1p5p1.add(gdstk.Reference(ls_fakejj_1p5x1p5um, (10,40)))
lsmitll_clkspltt_v1p5p1.add(gdstk.Reference(ls_fakejj_1p5x1p5um, (10,50)))
lsmitll_clkspltt_v1p5p1.add(gdstk.Reference(ls_fakejj_1p5x1p5um, (10,60)))
lsmitll_clkspltt_v1p5p1.add(gdstk.Reference(ls_fakejj_1p5x1p5um, (40,60)))
lsmitll_clkspltt_v1p5p1.add(gdstk.Reference(ls_fakejj_3umx3um, (18.5,5)))
lsmitll_clkspltt_v1p5p1.add(gdstk.Reference(ls_fakejj_3umx3um, (22.7,5)))
lsmitll_clkspltt_v1p5p1.add(gdstk.Reference(ls_fakejj_3umx3um, (26.9,5)))
lsmitll_clkspltt_v1p5p1.add(gdstk.Reference(ls_fakejj_3umx3um, (31.1,5)))
lsmitll_clkspltt_v1p5p1.add(gdstk.Reference(ls_fakejj_3umx3um, (35.3,5)))
lsmitll_clkspltt_v1p5p1.add(gdstk.Reference(ls_fakejj_3umx3um, (39.5,5)))
lsmitll_clkspltt_v1p5p1.add(gdstk.Reference(ls_fakejj_3umx3um, (25,9.2)))
lsmitll_clkspltt_v1p5p1.add(gdstk.Reference(ls_conn_m4m5m6m7, (2.55,13.35), rotation=pi/2))
lsmitll_clkspltt_v1p5p1.add(gdstk.Reference(ls_conn_m4m5m6m7, (2.65,3.35), rotation=pi/2))
lsmitll_clkspltt_v1p5p1.add(gdstk.Reference(ls_conn_m4m5m6m7, (48.75,3.35), rotation=pi/2))
lsmitll_clkspltt_v1p5p1.add(gdstk.Reference(ls_conn_m4m5m6m7, (48.8,13.35), rotation=pi/2))
lsmitll_clkspltt_v1p5p1.add(gdstk.Reference(ls_conn_m4m5m6m7, (13.35,0.15)))
lsmitll_clkspltt_v1p5p1.add(gdstk.Reference(ls_conn_m4m5m6m7, (3.35,0.15)))
lsmitll_clkspltt_v1p5p1.add(gdstk.Reference(ls_conn_m4m5m6m7, (23.35,0.15)))
lsmitll_clkspltt_v1p5p1.add(gdstk.Reference(ls_conn_m4m5m6m7, (33.35,0.15)))
lsmitll_clkspltt_v1p5p1.add(gdstk.Reference(ls_conn_m4m5m6m7, (43.35,0.15)))
lsmitll_clkspltt_v1p5p1.add(gdstk.Reference(ls_conn_m4m5m6m7, (42.55,13.35), rotation=pi/2))
lsmitll_clkspltt_v1p5p1.add(gdstk.Reference(ls_conn_m4m5m6m7, (8.85,13.35), rotation=pi/2))
lsmitll_clkspltt_v1p5p1.add(gdstk.Reference(ls_fakejj_3umx3um, (43.7,5)))
lsmitll_clkspltt_v1p5p1.add(gdstk.Reference(ls_fakejj_1p5x1p5um, (45,13.1)))
lsmitll_clkspltt_v1p5p1.add(gdstk.Reference(ls_fakejj_1p5x1p5um, (25,12.65)))
lsmitll_clkspltt_v1p5p1.add(gdstk.Reference(ls_fakejj_1p5x1p5um, (5,13.1)))
lsmitll_clkspltt_v1p5p1.add(gdstk.Reference(ls_fakejj_1p5x1p5um, (5,15.8)))
lsmitll_clkspltt_v1p5p1.add(gdstk.Reference(ls_fakejj_1p5x1p5um, (5,18.5)))
lsmitll_clkspltt_v1p5p1.add(gdstk.Reference(ls_fakejj_1p5x1p5um, (45,18.5)))
lsmitll_clkspltt_v1p5p1.add(gdstk.Label('q1', (35,15), layer=182, texttype=0))
lsmitll_clkspltt_v1p5p1.add(gdstk.Label('q0', (15,15), layer=182, texttype=0))
lsmitll_clkspltt_v1p5p1.add(gdstk.Label('bias', (35,70), layer=182, texttype=0))
lsmitll_clkspltt_v1p5p1.add(gdstk.Label('a', (15,55), layer=182, texttype=0))
lsmitll_clkspltt_v1p5p1.add(gdstk.Label('PB3 M6 M4', (45,25.025), layer=182, texttype=0))
lsmitll_clkspltt_v1p5p1.add(gdstk.Label('PB4 M6 M4', (5,27.975), layer=182, texttype=0))
lsmitll_clkspltt_v1p5p1.add(gdstk.Label('J4 M6 M5', (15,25), layer=182, texttype=0))
lsmitll_clkspltt_v1p5p1.add(gdstk.Label('J3 M6 M5', (15,35.025), layer=182, texttype=0))
lsmitll_clkspltt_v1p5p1.add(gdstk.Label('P3 M6 M4', (15,22), layer=182, texttype=0))
lsmitll_clkspltt_v1p5p1.add(gdstk.Label('P2 M6 M4', (35,22), layer=182, texttype=0))
lsmitll_clkspltt_v1p5p1.add(gdstk.Label('J6 M6 M5', (35.025,25), layer=182, texttype=0))
lsmitll_clkspltt_v1p5p1.add(gdstk.Label('J5 M6 M5', (25,25), layer=182, texttype=0))
lsmitll_clkspltt_v1p5p1.add(gdstk.Label('PB2 M6 M4', (35,39.375), layer=182, texttype=0))
lsmitll_clkspltt_v1p5p1.add(gdstk.Label('J2 M6 M5', (25.025,45), layer=182, texttype=0))
lsmitll_clkspltt_v1p5p1.add(gdstk.Label('PB1 M6 M4', (31.1,55), layer=182, texttype=0))
lsmitll_clkspltt_v1p5p1.add(gdstk.Label('J1 M6 M5', (25,55.025), layer=182, texttype=0))
lsmitll_clkspltt_v1p5p1.add(gdstk.Label('P1 M6 M4', (18.1,55.175), layer=182, texttype=0))

lib.write_gds('LSmitll_CLKSPLTT_v1p5p1.gds')
